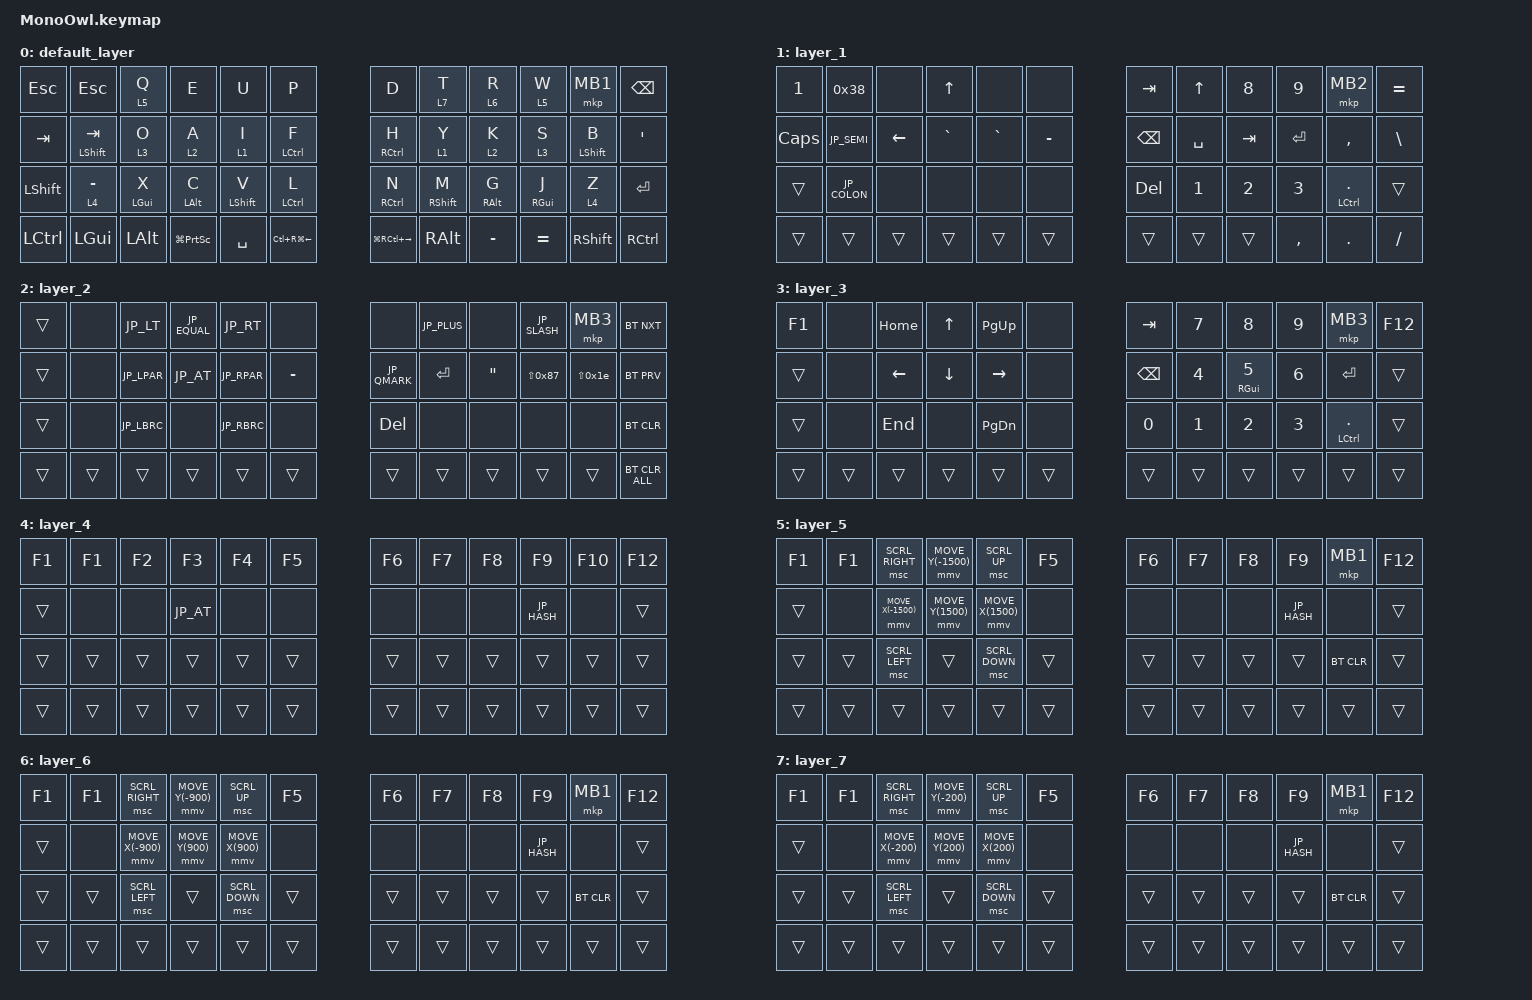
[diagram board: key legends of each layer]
#include <behaviors.dtsi>
#include <dt-bindings/zmk/bt.h>
#include <dt-bindings/zmk/keys.h>

#include <dt-bindings/zmk/pointing.h>
#include "keycode_japanese.h"

&msc {
    acceleration-exponent = <0>;      // 0
    time-to-max-speed-ms = <0>;       // 300
    delay-ms = <0>;                   // 0
};

&mmv {
    time-to-max-speed-ms = <0>;
    acceleration-exponent = <0>;
    trigger-period-ms = <10>;
    delay-ms = <0>;
};

&mt { 
    flavor = "balanced"; 
    tapping-term-ms = <200>;
    quick-tap-ms = <150>; 
};

&lt {
    flavor = "balanced";
    tapping-term-ms = <200>; 
    quick-tap-ms = <150>; 
};



// 複数キーの同時押しに特別の入力を設定できる
    // キー番号早見表：
    // 0  1  2  3  4  5        6  7  8  9  10 11
    // 12 13 14 15 16 17       18 19 20 21 22 23
    // 24 25 26 27 28 29       30 31 32 33 34 35 
    // 36 37 38 39 40 41       42 43 44 45 46 47

/ {
    combos {
        compatible = "zmk,combos";

        hankaku {
            bindings = <&kp GRAVE>;
            key-positions = <2 4>;
            layers = <0>;
            timeout-ms = <200>;
        };

        fopen {
            bindings = <&kp LG(N2)>;
            key-positions = <6 10>;
            layers = <0>;
            timeout-ms = <200>;
        };

        btcl {
            bindings = <&bt BT_CLR_ALL>;
            key-positions = <0 12 24 36>;
            layers = <0>;
        };

        bt0 {
            bindings = <&bt BT_SEL 0>;
            key-positions = <6 18 30 42>;
            layers = <0>;
        };

        bt1 {
            bindings = <&bt BT_SEL 1>;
            key-positions = <7 19 31 43>;
            layers = <0>;
        };

        bt2 {
            bindings = <&bt BT_SEL 2>;
            key-positions = <8 20 32 44>;
            layers = <0>;
        };

        mute {
            bindings = <&kp C_MUTE>;
            key-positions = <16 17>;
            layers = <0>;
        };

        vup {
            bindings = <&kp C_VOL_UP>;
            key-positions = <4 5>;
            layers = <0>;
        };

        vdn {
            bindings = <&kp C_VOL_DN>;
            key-positions = <28 29>;
            layers = <0>;
        };

        lspace{
            bindings = <&kp SPACE>;
            key-positions = <14 16>;
        };

    };




    keymap {
        compatible = "zmk,keymap";

        default_layer {
            bindings = <
&kp ESC    &kp ESCAPE          &lt 5 Q        &kp E          &kp U            &kp P                                    &kp D              &lt 7 T         &lt 6 R       &lt 5 W       &mkp MB1     &kp BSPC
&kp TAB    &mt LSHIFT TAB      &lt 3 O        &lt 2 A        &lt 1 I          &mt LCTRL F                              &mt RCTRL H        &lt 1 Y         &lt 2 K       &lt 3 S       &mt LEFT_SHIFT B   &kp APOS
&kp LSHFT  &lt 4 MINUS         &mt LGUI X     &mt LALT C     &mt LSHIFT V     &mt LCTRL L                              &mt RCTRL N        &mt RSHIFT M    &mt RALT G    &mt RGUI J    &lt 4 Z   &kp ENTER
&kp LCTRL  &kp LGUI            &kp LALT       &kp LG(PSCRN)  &kp SPACE        &kp LC(RG(LEFT))                         &kp LG(RC(RIGHT))  &kp RALT        &kp MINUS     &kp EQUAL     &kp RSHFT  &kp RCTRL
            >;
        };

        layer_1 {
            bindings = <
&kp N1       &kp 0x38      &none      &kp UP     &none       &none                                 &kp TAB          &kp UP          &kp N8        &kp N9         &mkp MB2         &kp EQUAL
&kp CAPS     &kp JP_SEMI   &kp LEFT   &kp GRAVE  &kp GRAVE   &kp MINUS                             &kp BACKSPACE    &kp SPACE       &kp TAB       &kp ENTER      &kp COMMA        &kp BSLH
&trans       &kp JP_COLON  &none      &none      &none       &none                                 &kp DELETE       &kp N1          &kp N2        &kp N3         &mt LCTRL PERIOD &trans
&trans    &trans          &trans          &trans           &trans  &trans    &trans  &trans  &trans  &kp COMMA  &kp DOT    &kp FSLH
            >;
        };

        layer_2 {
            bindings = <
&trans  &none        &kp JP_LT      &kp JP_EQUAL   &kp JP_RT     &none                                     &none          &kp JP_PLUS  &none              &kp JP_SLASH  &mkp MB3      &bt BT_NXT
&trans  &none        &kp JP_LPAR    &kp JP_AT      &kp JP_RPAR   &kp MINUS                                 &kp JP_QMARK   &kp ENTER    &kp DOUBLE_QUOTES  &kp LS(0x87)  &kp LS(0x1e)  &bt BT_PRV
&trans  &none        &kp JP_LBRC    &none          &kp JP_RBRC   &none                                     &kp DELETE     &none        &none              &none         &none         &bt BT_CLR
&trans  &trans  &trans  &trans  &trans  &trans    &trans        &trans        &trans        &trans        &trans        &bt BT_CLR_ALL
            >;
        };

        layer_3 {
            bindings = <
&kp F1  &none        &kp HOME   &kp UP     &kp PAGE_UP      &none                                 &kp TAB          &kp N7          &kp N8        &kp N9         &mkp MB3           &kp F12
&trans  &none        &kp LEFT   &kp DOWN   &kp RIGHT        &none                                 &kp BACKSPACE    &kp N4          &mt RGUI N5   &kp N6         &kp ENTER          &trans
&trans  &none        &kp END    &none      &kp PAGE_DOWN    &none                                 &kp N0           &kp N1          &kp N2        &kp N3         &mt LCTRL PERIOD   &trans
&trans  &trans  &trans  &trans  &trans  &trans    &trans  &trans  &trans  &trans   &trans   &trans
            >;
        };

        layer_4 {
            bindings = <
&kp F1  &kp F1  &kp F2  &kp F3      &kp F4  &kp F5                  &kp F6  &kp F7  &kp F8  &kp F9  &kp F10  &kp F12
&trans  &none   &none   &kp JP_AT   &none   &none                   &none   &none   &none   &kp JP_HASH   &none   &trans
&trans  &trans  &trans  &trans  &trans  &trans    &trans  &trans  &trans  &trans   &trans   &trans
&trans  &trans  &trans  &trans  &trans  &trans    &trans  &trans  &trans  &trans   &trans   &trans
            >;
        };


        layer_5 {
            bindings = <
&kp F1  &kp F1  &msc SCRL_RIGHT     &mmv MOVE_Y(-1500)   &msc SCRL_UP       &kp F5                  &kp F6  &kp F7  &kp F8  &kp F9  &mkp MB1  &kp F12
&trans  &none   &mmv MOVE_X(-1500)  &mmv MOVE_Y(1500)    &mmv MOVE_X(1500)  &none                   &none   &none   &none   &kp JP_HASH   &none   &trans
&trans  &trans  &msc SCRL_LEFT      &trans               &msc SCRL_DOWN     &trans                  &trans  &trans  &trans  &trans        &bt BT_CLR   &trans
&trans  &trans  &trans  &trans  &trans  &trans    &trans  &trans  &trans  &trans   &trans   &trans
            >;
        };

        layer_6 {
            bindings = <
&kp F1  &kp F1  &msc SCRL_RIGHT   &mmv MOVE_Y(-900)  &msc SCRL_UP        &kp F5                  &kp F6  &kp F7  &kp F8  &kp F9  &mkp MB1  &kp F12
&trans  &none   &mmv MOVE_X(-900) &mmv MOVE_Y(900)   &mmv MOVE_X(900)    &none                    &none   &none   &none   &kp JP_HASH   &none   &trans
&trans  &trans  &msc SCRL_LEFT    &trans             &msc SCRL_DOWN      &trans                   &trans        &trans        &trans        &trans        &bt BT_CLR   &trans
&trans  &trans  &trans  &trans  &trans  &trans    &trans  &trans  &trans  &trans   &trans   &trans
            >;
        };

        layer_7 {
            bindings = <
&kp F1  &kp F1  &msc SCRL_RIGHT   &mmv MOVE_Y(-200)   &msc SCRL_UP      &kp F5                  &kp F6  &kp F7  &kp F8  &kp F9  &mkp MB1   &kp F12
&trans  &none   &mmv MOVE_X(-200) &mmv MOVE_Y(200)    &mmv MOVE_X(200)  &none                   &none   &none   &none   &kp JP_HASH   &none   &trans
&trans  &trans  &msc SCRL_LEFT    &trans              &msc SCRL_DOWN    &trans                  &trans        &trans        &trans        &trans        &bt BT_CLR   &trans
&trans  &trans  &trans  &trans  &trans  &trans    &trans  &trans  &trans  &trans   &trans   &trans
            >;
        };

    };
};
